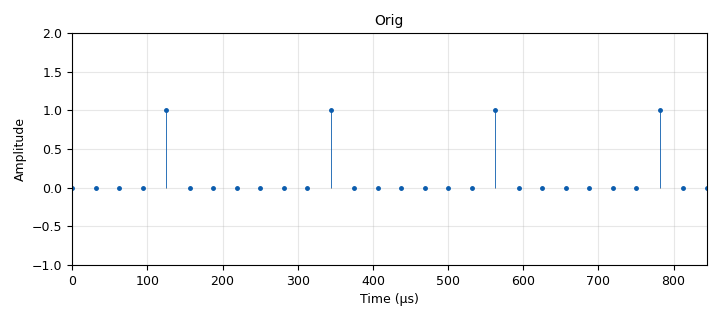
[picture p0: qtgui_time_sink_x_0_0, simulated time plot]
<?xml version='1.0' encoding='utf-8'?>
<?grc format='1' created='3.7.11'?>
<flow_graph>
<block>
<key>options</key>
<param><key>id</key><value>top_block</value></param>
<param><key>generate_options</key><value>qt_gui</value></param>
</block>
<block>
<key>variable</key>
<param><key>id</key><value>samp_rate</value></param>
<param><key>value</key><value>32000</value></param>
</block>
<block>
<key>ITpp_BCH_Decoder</key>
<param><key>id</key><value>ITpp_BCH_Decoder_0</value></param>
<param><key>n</key><value>15</value></param>
<param><key>t</key><value>2</value></param>
</block>
<block>
<key>ITpp_BCH_Encoder</key>
<param><key>id</key><value>ITpp_BCH_Encoder_0</value></param>
<param><key>n</key><value>15</value></param>
<param><key>t</key><value>2</value></param>
</block>
<block>
<key>ITpp_BSC_Byte</key>
<param><key>id</key><value>ITpp_BSC_Byte_0</value></param>
<param><key>probability</key><value>0.05</value></param>
<param><key>bits</key><value>1</value></param>
</block>
<block>
<key>analog_random_source_x</key>
<param><key>id</key><value>analog_random_source_x_0</value></param>
<param><key>_enabled</key><value>0</value></param>
<param><key>max</key><value>2</value></param>
<param><key>min</key><value>0</value></param>
<param><key>num_samps</key><value>30</value></param>
<param><key>type</key><value>byte</value></param>
<param><key>repeat</key><value>True</value></param>
</block>
<block>
<key>blocks_throttle</key>
<param><key>id</key><value>blocks_throttle_0_0</value></param>
<param><key>samples_per_second</key><value>samp_rate*10</value></param>
<param><key>type</key><value>byte</value></param>
</block>
<block>
<key>blocks_uchar_to_float</key>
<param><key>id</key><value>blocks_uchar_to_float_0</value></param>
</block>
<block>
<key>blocks_uchar_to_float</key>
<param><key>id</key><value>blocks_uchar_to_float_0_0</value></param>
</block>
<block>
<key>blocks_vector_source_x</key>
<param><key>id</key><value>blocks_vector_source_x_0</value></param>
<param><key>type</key><value>byte</value></param>
<param><key>repeat</key><value>True</value></param>
<param><key>vector</key><value>(1, 0, 0, 0, 0, 0, 0)</value></param>
</block>
<block>
<key>qtgui_time_sink_x</key>
<param><key>id</key><value>qtgui_time_sink_x_0</value></param>
<param><key>color1</key><value>"blue"</value></param>
<param><key>label1</key><value></value></param>
<param><key>marker1</key><value>0</value></param>
<param><key>style1</key><value>2</value></param>
<param><key>name</key><value>"Decoded"</value></param>
<param><key>size</key><value>28</value></param>
<param><key>srate</key><value>samp_rate</value></param>
<param><key>stemplot</key><value>True</value></param>
<param><key>type</key><value>float</value></param>
<param><key>ymax</key><value>2</value></param>
</block>
<block>
<key>qtgui_time_sink_x</key>
<param><key>id</key><value>qtgui_time_sink_x_0_0</value></param>
<param><key>color1</key><value>"blue"</value></param>
<param><key>label1</key><value></value></param>
<param><key>marker1</key><value>0</value></param>
<param><key>style1</key><value>2</value></param>
<param><key>name</key><value>"Orig"</value></param>
<param><key>size</key><value>28</value></param>
<param><key>srate</key><value>samp_rate</value></param>
<param><key>stemplot</key><value>True</value></param>
<param><key>type</key><value>float</value></param>
<param><key>ymax</key><value>2</value></param>
</block>
<connection><source_block_id>ITpp_BCH_Decoder_0</source_block_id><sink_block_id>blocks_uchar_to_float_0</sink_block_id><source_key>0</source_key><sink_key>0</sink_key></connection>
<connection><source_block_id>ITpp_BCH_Encoder_0</source_block_id><sink_block_id>ITpp_BSC_Byte_0</sink_block_id><source_key>0</source_key><sink_key>0</sink_key></connection>
<connection><source_block_id>ITpp_BSC_Byte_0</source_block_id><sink_block_id>ITpp_BCH_Decoder_0</sink_block_id><source_key>0</source_key><sink_key>0</sink_key></connection>
<connection><source_block_id>analog_random_source_x_0</source_block_id><sink_block_id>blocks_throttle_0_0</sink_block_id><source_key>0</source_key><sink_key>0</sink_key></connection>
<connection><source_block_id>blocks_throttle_0_0</source_block_id><sink_block_id>ITpp_BCH_Encoder_0</sink_block_id><source_key>0</source_key><sink_key>0</sink_key></connection>
<connection><source_block_id>blocks_throttle_0_0</source_block_id><sink_block_id>blocks_uchar_to_float_0_0</sink_block_id><source_key>0</source_key><sink_key>0</sink_key></connection>
<connection><source_block_id>blocks_uchar_to_float_0</source_block_id><sink_block_id>qtgui_time_sink_x_0</sink_block_id><source_key>0</source_key><sink_key>0</sink_key></connection>
<connection><source_block_id>blocks_uchar_to_float_0_0</source_block_id><sink_block_id>qtgui_time_sink_x_0_0</sink_block_id><source_key>0</source_key><sink_key>0</sink_key></connection>
<connection><source_block_id>blocks_vector_source_x_0</source_block_id><sink_block_id>blocks_throttle_0_0</sink_block_id><source_key>0</source_key><sink_key>0</sink_key></connection>
</flow_graph>
